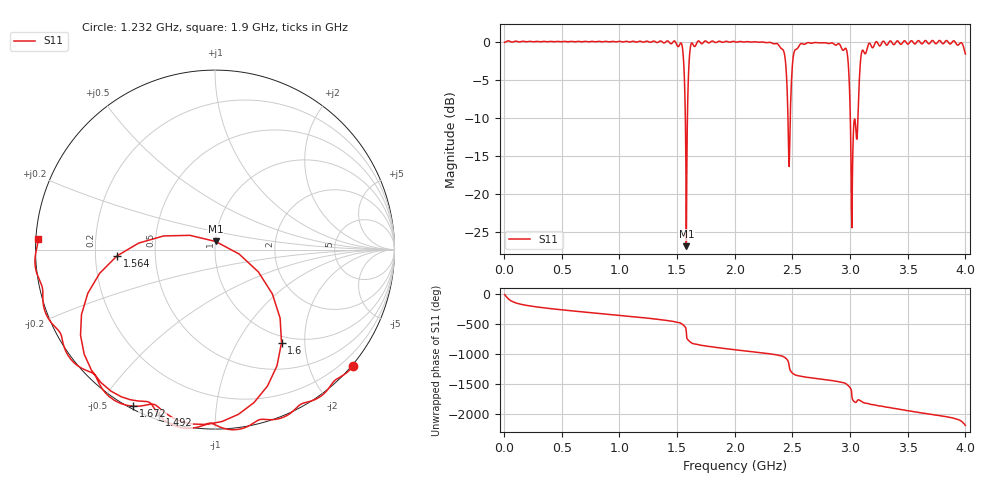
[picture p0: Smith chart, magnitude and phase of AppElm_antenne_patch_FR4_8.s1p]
! TOUCHSTONE file generated by CST MICROWAVE STUDIO
! Date and time: Tue Jun 14 12:12:49 2022
! Project name: AppElm_antenne_patch_FR4.cst
! Parameters = {L=45; W=58.5; e=0.035; h=1.6; lambda=0.190476; ls=120; w0=2.794; w1=0.847; ws=120; y0=18; y1=23.8}
! Header version: 2018
! Port assignment regex: !\s*Touchstone port\s*([0-9]+)\s*=\s*(CST MWS port|CST DS port)\s*([0-9]+|Zmin|Zmax)\s*\(\"(.*)\"\)(\s*mode\s*([0-9]+))?.*
! Touchstone port assignment:
! Touchstone port 1 = CST MWS port 1 ("")
# GHz S MA R 50
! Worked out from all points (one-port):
!   1000 points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, 4 MHz to 4 GHz, reference 50 ohm
!   lowest |S11| = -26.9 dB at 1.58 GHz (marker M1), VSWR 1.09, Z = 50.2 + j4.54 ohm
!   |S11| at or under -10 dB: 1.571 GHz to 1.59 GHz (18.23 MHz wide, 1.15 % of centre); 2.461 GHz to 2.481 GHz (20.2 MHz wide, 0.818 % of centre); 3.002 GHz to 3.068 GHz (66.2 MHz wide, 2.18 % of centre)
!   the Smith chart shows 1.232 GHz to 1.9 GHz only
!   S11 on the Smith chart (normalised r, x): 1.232 GHz: -0.02, -2.74; 1.492 GHz: 0.02, -0.72; 1.564 GHz: 0.29, -0.03; 1.6 GHz: 0.89, -1.56; 1.672 GHz: 0.01, -0.61; 1.9 GHz: 0.01, +0.03
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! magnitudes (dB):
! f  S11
! 4 MHz  -0.1
! 504 MHz  0.0
! 1.004 GHz  0.0
! 1.232 GHz  0.0
! 1.492 GHz  -0.2
! 1.504 GHz  -0.6
! 1.544 GHz  -0.6
! 1.564 GHz  -5.2
! 1.58 GHz  -26.9
! 1.6 GHz  -3.9
! 1.608 GHz  -1.8
! 1.62 GHz  -0.4
! 1.672 GHz  -0.1
! 1.9 GHz  -0.1
! 2.004 GHz  0.0
! 2.408 GHz  -1.0
! 2.436 GHz  -2.1
! 2.46 GHz  -9.2
! 2.472 GHz  -16.4
! 2.504 GHz  -2.4
! 2.58 GHz  -0.3
! 2.956 GHz  -0.9
! 2.98 GHz  -2.2
! 3.004 GHz  -11.5
! 3.032 GHz  -11.0
! 3.112 GHz  -1.2
! 3.504 GHz  -0.3
! 4 GHz  -1.6
